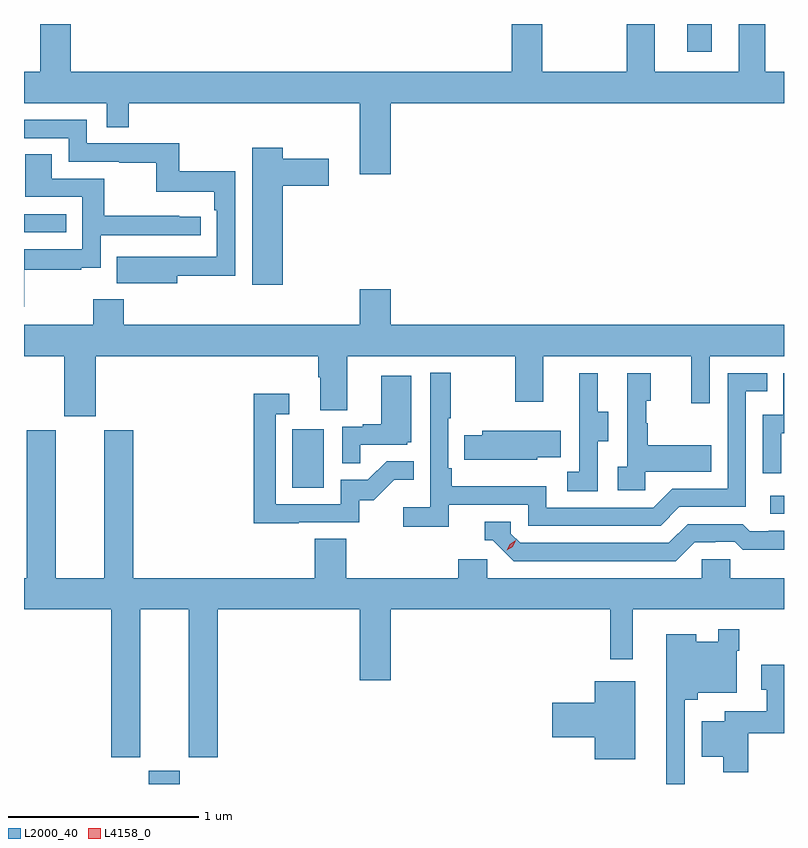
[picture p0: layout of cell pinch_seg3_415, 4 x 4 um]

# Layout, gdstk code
import gdstk
lib = gdstk.Library(unit=1e-6, precision=1e-09)
def R(c, l, rs):  # rectangles x0, y0, x1, y1
    for r in rs: c.add(gdstk.rectangle(r[:2], r[2:], *l))
def P(c, l, *ps):  # polygons
    for p in ps: c.add(gdstk.Polygon(p, *l))
L2000_40 = (2000, 40)
L4158_0 = (4158, 0)

pinch_seg3_415 = lib.new_cell('pinch_seg3_415')
R(pinch_seg3_415, L2000_40, [(943.118,699.996,943.282,700.065), (946.389,701.418,946.461,701.514), (943.874,701.556,944.038,701.863), (942.461,702.9,942.683,702.996), (945.953,703.851,946.081,703.996)])
P(pinch_seg3_415, L2000_40, [(944.392,703.58),(946.461,703.58),(946.461,703.744),(946.363,703.744),(946.363,703.996),(946.223,703.996),(946.223,703.744),(945.781,703.744),(945.781,703.996),(945.634,703.996),(945.634,703.744),(945.189,703.744),(945.189,703.996),(945.029,703.996),(945.029,703.744),(942.707,703.744),(942.707,703.996),(942.547,703.996),(942.547,703.744),(942.461,703.744),(942.461,703.58),(942.897,703.58),(942.897,703.453),(943.013,703.453),(943.013,703.58),(944.228,703.58),(944.228,703.206),(944.392,703.206)],
  [(943.267,702.67),(943.572,702.67),(943.572,703.222),(943.279,703.222),(943.279,703.368),(942.792,703.368),(942.792,703.491),(942.461,703.491),(942.461,703.395),(942.696,703.395),(942.696,703.272),(942.961,703.272),(942.961,703.267),(943.158,703.267),(943.158,703.112),(943.463,703.112),(943.463,703.016),(943.476,703.016),(943.476,702.771),(943.163,702.771),(943.163,702.772),(942.949,702.772),(942.949,702.632),(943.267,702.632)],
  [(943.822,703.145),(944.065,703.145),(944.065,703.287),(943.822,703.287),(943.822,703.345),(943.661,703.345),(943.661,702.624),(943.822,702.624)],
  [(942.463,702.702),(942.761,702.702),(942.761,702.713),(942.864,702.713),(942.864,702.885),(943.39,702.885),(943.39,702.981),(943.277,702.981),(943.277,702.986),(942.884,702.986),(942.884,703.182),(942.607,703.182),(942.607,703.31),(942.467,703.31),(942.467,703.086),(942.768,703.086),(942.768,702.81),(942.461,702.81),(942.461,702.507),(942.463,702.507)],
  [(942.838,702.248),(944.009,702.248),(944.009,702.136),(944.021,702.136),(944.021,701.962),(944.161,701.962),(944.161,702.248),(945.046,702.248),(945.046,702.009),(945.193,702.009),(945.193,702.248),(945.974,702.248),(945.974,702),(946.071,702),(946.071,702.248),(946.461,702.248),(946.461,702.412),(944.392,702.412),(944.392,702.601),(944.228,702.601),(944.228,702.412),(942.986,702.412),(942.986,702.547),(942.826,702.547),(942.826,702.412),(942.461,702.412),(942.461,702.248),(942.674,702.248),(942.674,701.931),(942.838,701.931)],
  [(944.696,701.466),(945.114,701.466),(945.114,701.355),(945.811,701.355),(945.91,701.454),(946.26,701.454),(946.26,702.063),(946.373,702.063),(946.373,702.159),(946.164,702.159),(946.164,701.55),(945.873,701.55),(945.774,701.451),(945.21,701.451),(945.21,701.563),(944.711,701.563),(944.711,701.659),(944.694,701.659),(944.694,701.92),(944.707,701.92),(944.707,702.16),(944.598,702.16),(944.598,701.452),(944.457,701.452),(944.457,701.35),(944.696,701.35)],
  [(946.446,701.843),(946.461,701.843),(946.461,702.159),(946.458,702.159),(946.458,701.94),(946.35,701.94),(946.35,701.631),(946.446,701.631)],
  [(945.48,701.8),(945.535,701.8),(945.535,701.955),(945.481,701.955),(945.481,702.157),(945.383,702.157),(945.383,701.943),(945.384,701.943),(945.384,701.639),(945.321,701.639),(945.321,701.536),(945.48,701.536)],
  [(945.732,701.639),(946.079,701.639),(946.079,701.779),(945.745,701.779),(945.745,701.894),(945.735,701.894),(945.735,702.012),(945.76,702.012),(945.76,702.157),(945.636,702.157),(945.636,701.666),(945.585,701.666),(945.585,701.541),(945.732,701.541)],
  [(944.231,701.781),(944.478,701.781),(944.478,701.796),(944.5,701.796),(944.5,702.145),(944.342,702.145),(944.342,701.89),(944.243,701.89),(944.243,701.877),(944.136,701.877),(944.136,701.683),(944.231,701.683)],
  [(943.907,701.373),(944.226,701.373),(944.226,701.49),(944.302,701.49),(944.409,701.597),(944.513,701.597),(944.513,701.696),(944.369,701.696),(944.271,701.598),(944.127,701.598),(944.127,701.469),(943.785,701.469),(943.785,701.943),(943.858,701.943),(943.858,702.049),(943.669,702.049),(943.669,701.368),(943.907,701.368)],
  [(943.072,700.916),(943.328,700.916),(943.328,700.137),(943.481,700.137),(943.481,700.916),(944.228,700.916),(944.228,700.542),(944.392,700.542),(944.392,700.916),(945.547,700.916),(945.547,700.653),(945.664,700.653),(945.664,700.916),(946.461,700.916),(946.461,701.08),(946.179,701.08),(946.179,701.178),(946.029,701.178),(946.029,701.08),(944.898,701.08),(944.898,701.178),(944.747,701.178),(944.747,701.08),(944.156,701.08),(944.156,701.288),(943.991,701.288),(943.991,701.08),(943.037,701.08),(943.037,701.859),(942.884,701.859),(942.884,701.08),(942.628,701.08),(942.628,701.859),(942.476,701.859),(942.476,701.08),(942.461,701.08),(942.461,700.916),(942.92,700.916),(942.92,700.137),(943.072,700.137)],
  [(945.162,701.717),(945.287,701.717),(945.287,701.854),(944.873,701.854),(944.873,701.832),(944.779,701.832),(944.779,701.703),(944.89,701.703),(944.89,701.702),(945.162,701.702)],
  [(945.991,701.268),(946.098,701.268),(946.098,701.271),(946.201,701.271),(946.243,701.229),(946.461,701.229),(946.461,701.328),(946.381,701.328),(946.381,701.325),(946.282,701.325),(946.243,701.364),(945.954,701.364),(945.855,701.265),(945.072,701.265),(945.024,701.313),(945.024,701.376),(944.885,701.376),(944.885,701.28),(944.928,701.28),(945.039,701.169),(945.892,701.169)],
  [(945.939,700.439),(946.008,700.439),(946.008,700.475),(946.212,700.475),(946.212,700.697),(946.225,700.697),(946.225,700.81),(946.116,700.81),(946.116,700.744),(946,700.744),(946,700.783),(945.842,700.783),(945.842,699.996),(945.939,699.996)],
  [(946.272,700.264),(946.461,700.264),(946.461,700.623),(946.34,700.623),(946.34,700.493),(946.37,700.493),(946.37,700.38),(946.148,700.38),(946.148,700.327),(946.028,700.327),(946.028,700.139),(946.142,700.139),(946.142,700.058),(946.272,700.058)],
  [(945.679,700.537),(945.464,700.537),(945.464,700.424),(945.24,700.424),(945.24,700.241),(945.464,700.241),(945.464,700.127),(945.679,700.127)])
P(pinch_seg3_415, L4158_0, [(945.002,701.226),(945.002,701.226),(945.018,701.259),(945.048,701.279),(945.048,701.279),(945.048,701.279),(945.033,701.246),(945.002,701.226)])

lib.write_gds('pinch_seg3_415.gds')
